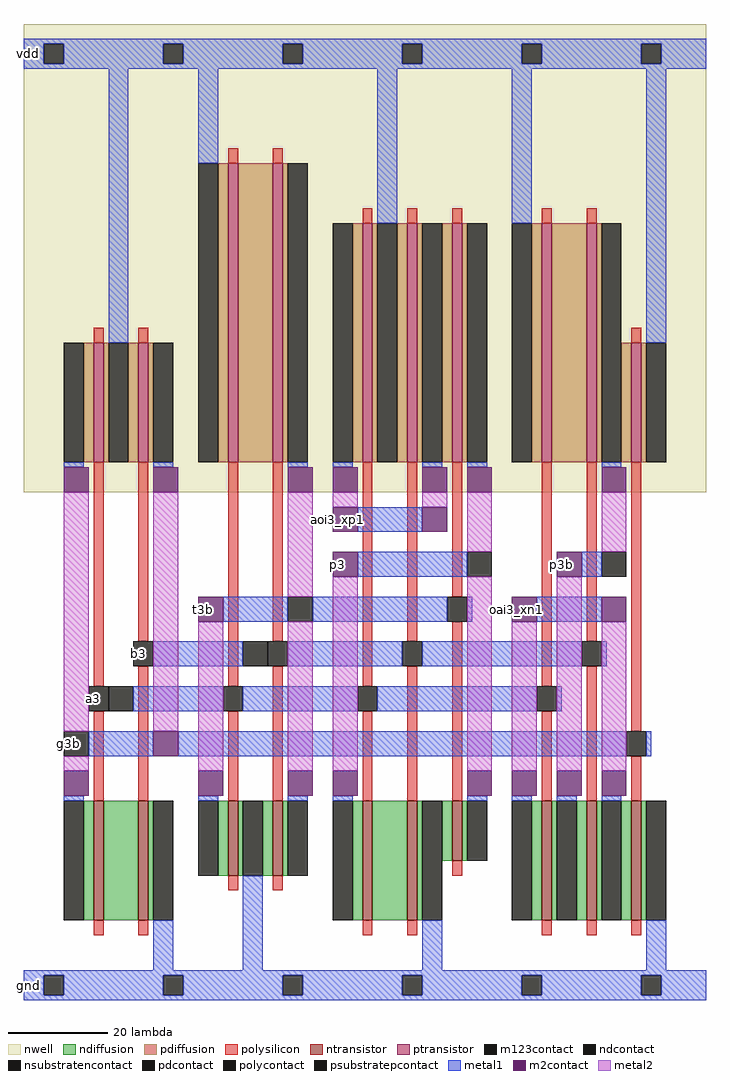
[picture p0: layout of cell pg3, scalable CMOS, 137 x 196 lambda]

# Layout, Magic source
magic
tech scmos
<< nwell >>
rect 0 102 137 196
<< ntransistor >>
rect 14 16 16 40
rect 23 16 25 40
rect 41 25 43 40
rect 50 25 52 40
rect 68 16 70 40
rect 77 16 79 40
rect 86 28 88 40
rect 104 16 106 40
rect 113 16 115 40
rect 122 16 124 40
<< ptransistor >>
rect 14 108 16 132
rect 23 108 25 132
rect 41 108 43 168
rect 50 108 52 168
rect 68 108 70 156
rect 77 108 79 156
rect 86 108 88 156
rect 104 108 106 156
rect 113 108 115 156
rect 122 108 124 132
<< ndiffusion >>
rect 12 16 14 40
rect 16 16 23 40
rect 25 16 26 40
rect 39 25 41 40
rect 43 25 44 40
rect 48 25 50 40
rect 52 25 53 40
rect 66 16 68 40
rect 70 16 77 40
rect 79 16 80 40
rect 84 28 86 40
rect 88 28 89 40
rect 102 16 104 40
rect 106 16 107 40
rect 111 16 113 40
rect 115 16 116 40
rect 120 16 122 40
rect 124 16 125 40
<< pdiffusion >>
rect 12 108 14 132
rect 16 108 17 132
rect 21 108 23 132
rect 25 108 26 132
rect 39 108 41 168
rect 43 108 50 168
rect 52 108 53 168
rect 66 108 68 156
rect 70 108 71 156
rect 75 108 77 156
rect 79 108 80 156
rect 84 108 86 156
rect 88 108 89 156
rect 102 108 104 156
rect 106 108 113 156
rect 115 108 116 156
rect 120 108 122 132
rect 124 108 125 132
<< ndcontact >>
rect 8 16 12 40
rect 26 16 30 40
rect 35 25 39 40
rect 44 25 48 40
rect 53 25 57 40
rect 62 16 66 40
rect 80 16 84 40
rect 89 28 93 40
rect 98 16 102 40
rect 107 16 111 40
rect 116 16 120 40
rect 125 16 129 40
<< pdcontact >>
rect 8 108 12 132
rect 17 108 21 132
rect 26 108 30 132
rect 35 108 39 168
rect 53 108 57 168
rect 62 108 66 156
rect 71 108 75 156
rect 80 108 84 156
rect 89 108 93 156
rect 98 108 102 156
rect 116 108 120 156
rect 125 108 129 132
<< psubstratepcontact >>
rect 4 1 8 5
rect 28 1 32 5
rect 52 1 56 5
rect 76 1 80 5
rect 100 1 104 5
rect 124 1 128 5
<< nsubstratencontact >>
rect 4 188 8 192
rect 28 188 32 192
rect 52 188 56 192
rect 76 188 80 192
rect 100 188 104 192
rect 124 188 128 192
<< polysilicon >>
rect 41 168 43 171
rect 50 168 52 171
rect 14 132 16 135
rect 23 132 25 135
rect 68 156 70 159
rect 77 156 79 159
rect 86 156 88 159
rect 104 156 106 159
rect 113 156 115 159
rect 122 132 124 135
rect 14 63 16 108
rect 23 72 25 108
rect 14 40 16 58
rect 23 40 25 67
rect 41 63 43 108
rect 50 72 52 108
rect 41 40 43 58
rect 50 40 52 67
rect 68 63 70 108
rect 77 72 79 108
rect 86 81 88 108
rect 68 40 70 58
rect 77 40 79 67
rect 86 40 88 76
rect 104 63 106 108
rect 113 72 115 108
rect 104 40 106 58
rect 113 40 115 67
rect 122 54 124 108
rect 122 40 124 49
rect 41 22 43 25
rect 50 22 52 25
rect 86 25 88 28
rect 14 13 16 16
rect 23 13 25 16
rect 68 13 70 16
rect 77 13 79 16
rect 104 13 106 16
rect 113 13 115 16
rect 122 13 124 16
<< polycontact >>
rect 22 67 26 72
rect 13 58 17 63
rect 49 67 53 72
rect 40 58 44 63
rect 85 76 89 81
rect 76 67 80 72
rect 67 58 71 63
rect 112 67 116 72
rect 103 58 107 63
rect 121 49 125 54
<< metal1 >>
rect 0 192 137 193
rect 0 188 4 192
rect 8 188 28 192
rect 32 188 52 192
rect 56 188 76 192
rect 80 188 100 192
rect 104 188 124 192
rect 128 188 137 192
rect 0 187 137 188
rect 17 132 21 187
rect 35 168 39 187
rect 71 156 75 187
rect 98 156 102 187
rect 8 107 12 108
rect 26 107 30 108
rect 53 107 57 108
rect 62 107 66 108
rect 80 107 84 108
rect 125 132 129 187
rect 89 107 93 108
rect 116 107 120 108
rect 67 94 80 99
rect 67 85 89 90
rect 112 85 116 90
rect 40 76 53 81
rect 58 76 85 81
rect 89 76 90 81
rect 103 76 116 81
rect 26 67 44 72
rect 53 67 76 72
rect 80 67 112 72
rect 116 67 117 72
rect 22 58 40 63
rect 44 58 67 63
rect 71 58 103 63
rect 107 58 108 63
rect 13 49 26 54
rect 31 49 121 54
rect 125 49 126 54
rect 8 40 12 41
rect 35 40 39 41
rect 53 40 57 41
rect 62 40 66 41
rect 89 40 93 41
rect 26 6 30 16
rect 44 6 48 25
rect 98 40 102 41
rect 107 40 111 41
rect 116 40 120 41
rect 80 6 84 16
rect 125 6 129 16
rect 0 5 137 6
rect 0 1 4 5
rect 8 1 28 5
rect 32 1 52 5
rect 56 1 76 5
rect 80 1 100 5
rect 104 1 124 5
rect 128 1 137 5
rect 0 0 137 1
<< m2contact >>
rect 8 102 13 107
rect 26 102 31 107
rect 53 102 58 107
rect 62 102 67 107
rect 80 102 85 107
rect 89 102 94 107
rect 116 102 121 107
rect 62 94 67 99
rect 80 94 85 99
rect 62 85 67 90
rect 107 85 112 90
rect 35 76 40 81
rect 98 76 103 81
rect 116 76 121 81
rect 26 49 31 54
rect 8 41 13 46
rect 35 41 40 46
rect 53 41 58 46
rect 62 41 67 46
rect 89 41 94 46
rect 98 41 103 46
rect 107 41 112 46
rect 116 41 121 46
<< metal2 >>
rect 8 54 13 102
rect 26 54 31 102
rect 53 81 58 102
rect 62 99 67 102
rect 80 99 85 102
rect 89 90 94 102
rect 116 90 121 102
rect 8 46 13 49
rect 35 46 40 76
rect 53 46 58 76
rect 62 46 67 85
rect 89 46 94 85
rect 98 46 103 76
rect 107 46 112 85
rect 116 46 121 76
<< m123contact >>
rect 17 58 22 63
rect 8 49 13 54
rect 53 76 58 81
rect 44 67 49 72
rect 89 85 94 90
rect 116 85 121 90
<< labels >>
rlabel metal1 13 58 15 63 0 a3
port 1 nsew
rlabel metal1 22 67 24 72 0 b3
port 2 nsew
rlabel metal1 8 49 10 54 0 g3b
port 3 nsew
rlabel m2contact 62 85 64 90 0 p3
port 4 nsew
rlabel m2contact 107 85 109 90 0 p3b
port 5 nsew
rlabel m2contact 35 76 37 81 0 t3b
port 6 nsew
rlabel m2contact 62 94 64 99 0 aoi3_xp1
rlabel m2contact 98 76 100 81 0 oai3_xn1
rlabel metal1 0 187 2 193 0 vdd
port 7 nsew
rlabel metal1 0 0 2 6 0 gnd
port 8 nsew
<< end >>
